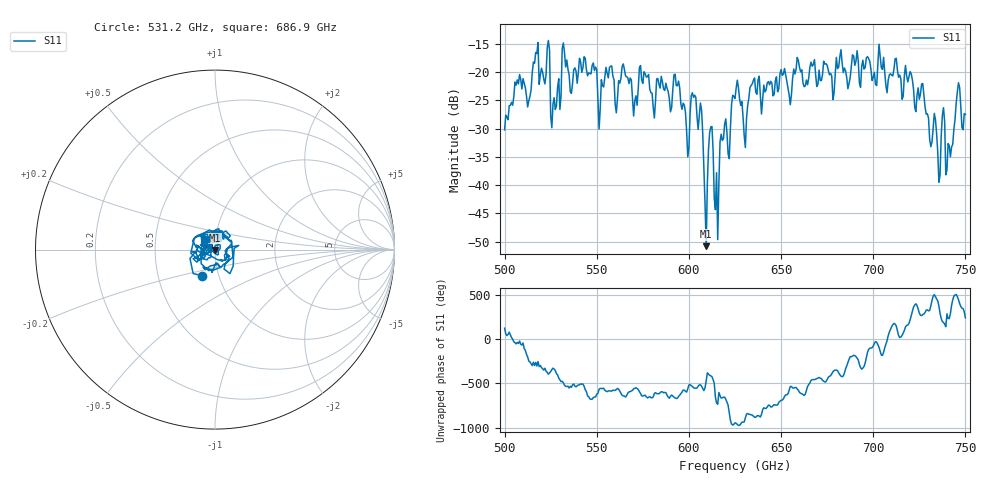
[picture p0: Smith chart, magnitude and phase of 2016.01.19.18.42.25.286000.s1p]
!Created with skrf (http://scikit-rf.org).
# GHz S RI R 50.0
!freq ReS11 ImS11
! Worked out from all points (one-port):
!   401 points, 500 GHz to 750 GHz, reference 50 ohm
!   lowest |S11| = -50.8 dB at 609.4 GHz (marker M1), VSWR 1.01, Z = 49.9 - j0.266 ohm
!   |S11| at or under -10 dB: start of sweep to end of sweep
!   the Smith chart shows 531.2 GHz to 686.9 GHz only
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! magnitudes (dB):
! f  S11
! 500 GHz  -30.2
! 506.9 GHz  -21.4
! 513.1 GHz  -25.1
! 516.9 GHz  -16.6
! 523.1 GHz  -15.8
! 526.2 GHz  -25.7
! 531.2 GHz  -15.8
! 562.5 GHz  -22.0
! 593.8 GHz  -22.4
! 598.8 GHz  -30.4
! 602.5 GHz  -24.5
! 606.2 GHz  -25.5
! 609.4 GHz  -50.8
! 611.9 GHz  -29.7
! 615 GHz  -37.8
! 618.1 GHz  -32.1
! 621.9 GHz  -35.3
! 625 GHz  -24.7
! 630.6 GHz  -33.4
! 634.4 GHz  -22.1
! 656.2 GHz  -21.2
! 687.5 GHz  -21.0
! 718.8 GHz  -21.8
! 735.6 GHz  -39.5
! 738.1 GHz  -26.3
! 740.6 GHz  -32.7
! 746.2 GHz  -21.9
! 750 GHz  -27.5
